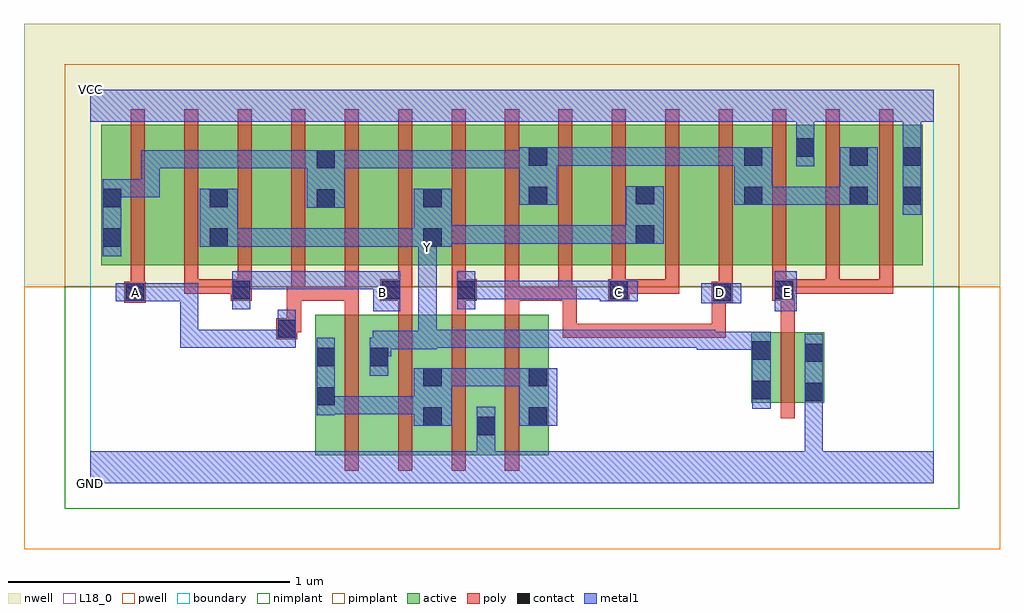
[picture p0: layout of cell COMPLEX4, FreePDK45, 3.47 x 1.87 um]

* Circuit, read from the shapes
.subckt COMPLEX4 A B C D E GND VCC Y
M1 Y A n1 VSUBS nfet w=0.5u l=0.05u
M2 n1 B Y VSUBS nfet w=0.5u l=0.05u
M3 GND C n1 VSUBS nfet w=0.5u l=0.05u
M4 n1 D GND VSUBS nfet w=0.5u l=0.05u
M5 GND E Y VSUBS nfet w=0.25u l=0.05u
M6 n2 A n3 n4 pfet w=0.5u l=0.05u
M7 Y B n2 n4 pfet w=0.5u l=0.05u
M8 n5 B Y n4 pfet w=0.5u l=0.05u
M9 n3 A n5 n4 pfet w=0.5u l=0.05u
M10 n6 A n3 n4 pfet w=0.5u l=0.05u
M11 Y B n6 n4 pfet w=0.5u l=0.05u
M12 n7 C Y n4 pfet w=0.5u l=0.05u
M13 n3 D n7 n4 pfet w=0.5u l=0.05u
M14 n8 D n3 n4 pfet w=0.5u l=0.05u
M15 Y C n8 n4 pfet w=0.5u l=0.05u
M16 n9 C Y n4 pfet w=0.5u l=0.05u
M17 n3 D n9 n4 pfet w=0.5u l=0.05u
M18 VCC E n3 n4 pfet w=0.5u l=0.05u m=3
.ends

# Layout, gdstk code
import gdstk
lib = gdstk.Library(unit=1e-6, precision=1e-09)
def R(c, l, rs):  # rectangles x0, y0, x1, y1
    for r in rs: c.add(gdstk.rectangle(r[:2], r[2:], *l))
def A(c, l, x, y, w, h, nx, ny, dx, dy):  # array of equal rectangles
    R(c, l, [(x+i*dx, y+j*dy, x+i*dx+w, y+j*dy+h) for i in range(nx) for j in range(ny)])
active = (1, 0)
pwell = (2, 0)
nwell = (3, 0)
nimplant = (4, 0)
pimplant = (5, 0)
poly = (9, 0)
contact = (10, 0)
metal1 = (11, 0)
L18_0 = (18, 0)
boundary = (235, 0)

complex4 = lib.new_cell('COMPLEX4')
A(complex4, active, 0.8, 0.1, 0.265, 0.5, 3, 1, 0.19, 0)
A(complex4, active, 0.04, 0.775, 0.225, 0.5, 4, 1, 0.38, 0)
A(complex4, active, 0.265, 0.775, 0.23, 0.5, 3, 1, 0.38, 0)
R(complex4, active, [(1.37,0.1,1.63,0.6), (1.37,0.132,1.445,0.55), (0.8,0.145,0.875,0.6), (0.99,0.145,1.065,0.592), (1.18,0.145,1.255,0.592), (1.555,0.145,1.63,0.6), (2.35,0.287,2.425,0.537), (2.35,0.287,2.61,0.537), (2.535,0.287,2.61,0.537), (0.04,0.775,0.145,1.2), (0.42,0.775,0.495,1.07), (0.8,0.775,0.875,1.2), (1.18,0.775,1.255,1.07), (1.405,0.775,1.63,1.275), (1.555,0.775,1.63,1.2), (1.555,0.775,1.785,1.275), (1.785,0.775,2.01,1.275), (1.935,0.775,2.165,1.275), (1.935,0.775,2.01,1.07), (2.165,0.775,2.395,1.275), (2.32,0.775,2.58,1.275), (2.32,0.775,2.395,1.2), (2.505,0.775,2.77,1.275), (2.505,0.775,2.58,1.275), (2.695,0.775,2.96,1.275), (2.695,0.775,2.77,1.2), (2.885,0.775,2.96,1.275)])
R(complex4, pwell, [(-0.235,-0.235,3.235,0.7)])
R(complex4, nwell, [(-0.235,0.7,3.235,1.635)])
R(complex4, nimplant, [(-0.09,-0.09,3.09,0.7)])
R(complex4, pimplant, [(-0.09,0.7,3.09,1.49)])
A(complex4, poly, 0.905, 0.045, 0.05, 0.61, 4, 1, 0.19, 0)
A(complex4, poly, 0.905, 0.605, 0.05, 0.095, 4, 1, 0.19, 0)
A(complex4, poly, 2.425, 0.675, 0.05, 0.095, 3, 1, 0.19, 0)
A(complex4, poly, 0.145, 0.72, 0.05, 0.61, 15, 1, 0.19, 0)
R(complex4, poly, [(2.455,0.232,2.505,0.592), (0.662,0.512,0.737,0.587), (1.68,0.517,1.73,0.567), (1.68,0.517,1.73,0.567), (1.68,0.517,1.73,0.567), (1.68,0.517,1.73,0.567), (1.68,0.517,1.73,0.567), (1.68,0.517,1.862,0.567), (1.68,0.517,1.73,0.7), (1.812,0.517,1.862,0.567), (1.812,0.517,1.862,0.567), (1.812,0.517,1.862,0.567), (1.812,0.517,2.127,0.567), (2.077,0.517,2.127,0.567), (2.077,0.517,2.127,0.567), (2.077,0.517,2.127,0.567), (2.077,0.517,2.26,0.567), (2.21,0.517,2.26,0.567), (2.21,0.517,2.26,0.567), (2.21,0.517,2.26,0.567), (2.21,0.517,2.26,0.692), (0.687,0.537,0.737,0.587), (0.687,0.537,0.75,0.587), (0.7,0.537,0.75,0.7), (2.455,0.542,2.505,0.7), (0.122,0.642,0.197,0.717), (2.21,0.642,2.285,0.717), (0.5,0.65,0.575,0.725), (0.7,0.65,0.765,0.7), (0.715,0.65,0.765,0.7), (0.715,0.65,0.765,0.7), (0.715,0.65,0.955,0.7), (0.715,0.65,0.765,0.77), (0.905,0.65,0.955,0.7), (0.905,0.65,0.955,0.77), (1.032,0.65,1.145,0.725), (1.285,0.65,1.375,0.725), (1.475,0.65,1.525,0.7), (1.475,0.65,1.525,0.7), (1.475,0.65,1.525,0.7), (1.475,0.65,1.715,0.7), (1.475,0.65,1.525,0.77), (1.665,0.65,1.715,0.77), (1.665,0.65,1.73,0.7), (1.842,0.65,1.917,0.725), (2.425,0.65,2.505,0.725), (0.145,0.667,0.195,0.77), (2.235,0.667,2.285,0.77), (0.335,0.675,0.385,0.77), (0.335,0.675,0.385,0.725), (0.335,0.675,0.55,0.725), (0.5,0.675,0.55,0.725), (0.5,0.675,0.55,0.725), (0.525,0.675,0.575,0.77), (1.095,0.675,1.145,0.77), (1.285,0.675,1.335,0.77), (1.855,0.675,1.905,0.77), (1.867,0.675,1.917,0.725), (1.867,0.675,1.917,0.725), (1.867,0.675,2.095,0.725), (2.045,0.675,2.095,0.77), (2.045,0.675,2.095,0.725), (2.455,0.675,2.665,0.725), (2.615,0.675,2.665,0.725), (2.615,0.675,2.665,0.725), (2.615,0.675,2.665,0.725), (2.615,0.675,2.855,0.725), (2.805,0.675,2.855,0.725), (2.805,0.675,2.855,0.725), (2.805,0.675,2.855,0.725)])
R(complex4, contact, [(1.375,0.172,1.44,0.237), (1.185,0.205,1.25,0.27), (1.56,0.205,1.625,0.27), (0.805,0.277,0.87,0.342), (2.54,0.292,2.605,0.357), (2.355,0.3,2.42,0.365), (1.185,0.345,1.25,0.41), (1.56,0.345,1.625,0.41), (0.805,0.417,0.87,0.482), (0.995,0.417,1.06,0.482), (2.54,0.432,2.605,0.497), (2.355,0.44,2.42,0.505), (0.667,0.517,0.732,0.582), (0.127,0.647,0.192,0.712), (2.215,0.647,2.28,0.712), (0.505,0.655,0.57,0.72), (1.037,0.655,1.102,0.72), (1.305,0.655,1.37,0.72), (1.847,0.655,1.912,0.72), (2.435,0.655,2.5,0.72), (0.045,0.842,0.11,0.907), (0.425,0.842,0.49,0.907), (1.185,0.842,1.25,0.907), (1.94,0.852,2.005,0.917), (0.805,0.98,0.87,1.045), (0.045,0.982,0.11,1.047), (0.425,0.982,0.49,1.047), (1.185,0.982,1.25,1.047), (1.56,0.99,1.625,1.055), (2.325,0.99,2.39,1.055), (2.7,0.99,2.765,1.055), (2.89,0.99,2.955,1.055), (1.94,0.992,2.005,1.057), (0.805,1.12,0.87,1.185), (1.56,1.13,1.625,1.195), (2.325,1.13,2.39,1.195), (2.7,1.13,2.765,1.195), (2.89,1.13,2.955,1.195), (2.51,1.162,2.575,1.227)])
R(complex4, metal1, [(0,0,3,0.115), (1.375,0.05,1.44,0.202), (2.54,0.05,2.605,0.115), (2.54,0.05,2.605,0.115), (2.54,0.05,2.605,0.115), (2.54,0.05,2.605,0.115), (2.54,0.05,2.605,0.115), (2.54,0.05,2.605,0.115), (2.54,0.05,2.605,0.322), (1.375,0.137,1.44,0.202), (1.375,0.137,1.44,0.202), (1.375,0.137,1.44,0.272), (1.15,0.205,1.285,0.41), (1.525,0.205,1.66,0.41), (0.805,0.242,0.87,0.517), (0.805,0.245,0.87,0.31), (0.805,0.245,0.87,0.31), (0.805,0.245,1.077,0.31), (1.012,0.245,1.077,0.31), (1.012,0.245,1.077,0.31), (1.012,0.245,1.077,0.31), (1.012,0.245,1.215,0.31), (2.54,0.257,2.605,0.532), (2.355,0.265,2.42,0.54), (1.22,0.345,1.422,0.41), (1.357,0.345,1.422,0.41), (1.357,0.345,1.422,0.41), (1.357,0.345,1.422,0.41), (1.357,0.345,1.59,0.41), (1.525,0.345,1.59,0.41), (1.525,0.345,1.59,0.41), (0.995,0.382,1.06,0.517), (0.995,0.452,1.07,0.517), (1.005,0.452,1.07,0.542), (2.157,0.475,2.42,0.54), (2.157,0.475,2.222,0.547), (1.005,0.477,1.232,0.542), (1.167,0.477,1.232,0.547), (0.32,0.482,0.385,0.547), (0.32,0.482,0.525,0.547), (0.32,0.482,0.385,0.712), (0.46,0.482,0.525,0.547), (0.46,0.482,0.67,0.547), (0.605,0.482,0.67,0.547), (0.605,0.482,0.67,0.547), (0.605,0.482,0.67,0.547), (0.605,0.482,0.732,0.547), (0.667,0.482,0.732,0.617), (1.167,0.482,1.452,0.547), (1.167,0.482,1.232,0.837), (1.387,0.482,1.452,0.547), (1.387,0.482,1.452,0.547), (1.387,0.482,1.452,0.547), (1.387,0.482,1.59,0.547), (1.525,0.482,1.59,0.547), (1.525,0.482,1.59,0.547), (1.525,0.482,1.59,0.547), (1.525,0.482,1.74,0.547), (1.675,0.482,1.74,0.547), (1.675,0.482,1.797,0.547), (1.732,0.482,1.797,0.547), (1.732,0.482,1.947,0.547), (1.882,0.482,1.947,0.547), (1.882,0.482,1.947,0.547), (1.882,0.482,1.947,0.547), (1.882,0.482,2.085,0.547), (2.02,0.482,2.085,0.547), (2.02,0.482,2.085,0.547), (2.02,0.482,2.085,0.547), (2.02,0.482,2.222,0.547), (1.007,0.612,1.102,0.755), (2.435,0.612,2.512,0.755), (0.505,0.62,0.57,0.755), (1.305,0.62,1.37,0.755), (2.172,0.64,2.315,0.712), (0.092,0.647,0.227,0.712), (0.162,0.647,0.247,0.712), (0.182,0.647,0.247,0.712), (0.182,0.647,0.385,0.712), (0.32,0.647,0.385,0.712), (0.32,0.647,0.385,0.712), (0.32,0.647,0.385,0.712), (1.812,0.647,1.947,0.72), (1.305,0.655,1.422,0.72), (1.357,0.655,1.422,0.72), (1.357,0.655,1.59,0.72), (1.525,0.655,1.59,0.72), (1.525,0.655,1.59,0.72), (1.525,0.655,1.59,0.72), (1.525,0.655,1.74,0.72), (1.675,0.655,1.74,0.72), (1.675,0.655,1.81,0.72), (1.745,0.655,1.81,0.72), (1.745,0.655,1.877,0.72), (0.505,0.69,0.697,0.755), (0.632,0.69,0.697,0.755), (0.632,0.69,0.707,0.755), (0.642,0.69,0.707,0.755), (0.642,0.69,0.87,0.755), (0.805,0.69,0.87,0.755), (0.805,0.69,0.87,0.755), (0.805,0.69,0.87,0.755), (0.805,0.69,1.072,0.755), (1.007,0.69,1.072,0.755), (1.007,0.69,1.072,0.755), (1.167,0.772,1.232,0.907), (0.045,0.807,0.11,1.082), (0.39,0.842,0.525,1.047), (0.46,0.842,0.525,0.907), (0.46,0.842,0.525,0.907), (0.46,0.842,0.662,0.907), (0.597,0.842,0.662,0.907), (0.597,0.842,0.732,0.907), (0.667,0.842,0.732,0.907), (0.667,0.842,0.87,0.907), (0.805,0.842,0.87,0.907), (0.805,0.842,0.87,0.907), (0.805,0.842,0.87,0.907), (0.805,0.842,1.042,0.907), (0.977,0.842,1.042,0.907), (0.977,0.842,1.042,0.907), (0.977,0.842,1.042,0.907), (0.977,0.842,1.215,0.907), (1.15,0.842,1.285,1.047), (1.167,0.842,1.232,0.907), (1.22,0.852,1.452,0.917), (1.387,0.852,1.452,0.917), (1.387,0.852,1.452,0.917), (1.387,0.852,1.452,0.917), (1.387,0.852,1.59,0.917), (1.525,0.852,1.59,0.917), (1.525,0.852,1.59,0.917), (1.525,0.852,1.59,0.917), (1.525,0.852,1.727,0.917), (1.662,0.852,1.727,0.917), (1.662,0.852,1.81,0.917), (1.745,0.852,1.81,0.917), (1.745,0.852,1.947,0.917), (1.882,0.852,1.947,0.917), (1.882,0.852,1.97,0.917), (1.905,0.852,2.04,1.057), (2.89,0.955,2.955,1.23), (0.77,0.98,0.905,1.185), (1.525,0.99,1.66,1.195), (2.29,0.99,2.425,1.195), (2.36,0.99,2.592,1.055), (2.527,0.99,2.592,1.055), (2.527,0.99,2.592,1.055), (2.527,0.99,2.592,1.055), (2.527,0.99,2.73,1.055), (2.665,0.99,2.73,1.055), (2.665,0.99,2.73,1.055), (2.665,0.99,2.8,1.195), (0.045,1.017,0.11,1.082), (0.045,1.017,0.11,1.082), (0.045,1.017,0.247,1.082), (0.182,1.017,0.247,1.082), (0.182,1.017,0.247,1.185), (0.182,1.12,0.247,1.185), (0.182,1.12,0.387,1.185), (0.322,1.12,0.387,1.185), (0.322,1.12,0.525,1.185), (0.46,1.12,0.525,1.185), (0.46,1.12,0.525,1.185), (0.46,1.12,0.525,1.185), (0.46,1.12,0.662,1.185), (0.597,1.12,0.662,1.185), (0.597,1.12,0.732,1.185), (0.667,1.12,0.732,1.185), (0.667,1.12,0.835,1.185), (0.84,1.12,0.905,1.185), (0.84,1.12,0.905,1.185), (0.84,1.12,1.077,1.185), (1.012,1.12,1.077,1.185), (1.012,1.12,1.077,1.185), (1.012,1.12,1.077,1.185), (1.012,1.12,1.285,1.185), (1.22,1.12,1.285,1.185), (1.22,1.12,1.422,1.185), (1.357,1.12,1.422,1.185), (1.357,1.12,1.422,1.185), (1.357,1.12,1.422,1.185), (1.357,1.12,1.59,1.185), (1.525,1.12,1.59,1.185), (1.525,1.12,1.59,1.185), (2.51,1.127,2.575,1.262), (1.595,1.13,1.74,1.195), (1.675,1.13,1.74,1.195), (1.675,1.13,1.81,1.195), (1.745,1.13,1.81,1.195), (1.745,1.13,1.947,1.195), (1.882,1.13,1.947,1.195), (1.882,1.13,1.947,1.195), (1.882,1.13,1.947,1.195), (1.882,1.13,2.085,1.195), (2.02,1.13,2.085,1.195), (2.02,1.13,2.177,1.195), (2.112,1.13,2.177,1.195), (2.112,1.13,2.177,1.195), (2.112,1.13,2.177,1.195), (2.112,1.13,2.355,1.195), (2.29,1.13,2.355,1.195), (2.29,1.13,2.355,1.195), (2.89,1.165,2.955,1.35), (2.51,1.197,2.575,1.35), (0,1.285,3,1.4)])
R(complex4, L18_0, [(0,0,3,0.115), (1.375,0.05,1.44,0.202), (2.54,0.05,2.605,0.115), (2.54,0.05,2.605,0.115), (2.54,0.05,2.605,0.115), (2.54,0.05,2.605,0.115), (2.54,0.05,2.605,0.115), (2.54,0.05,2.605,0.115), (2.54,0.05,2.605,0.322), (1.375,0.137,1.44,0.202), (1.375,0.137,1.44,0.202), (1.375,0.137,1.44,0.272), (2.54,0.257,2.605,0.532), (2.355,0.265,2.42,0.54), (0.995,0.382,1.06,0.517), (0.995,0.452,1.07,0.517), (1.005,0.452,1.07,0.542), (2.157,0.475,2.222,0.547), (2.157,0.475,2.42,0.54), (1.005,0.477,1.232,0.542), (1.167,0.477,1.232,0.547), (0.32,0.482,0.385,0.547), (0.32,0.482,0.385,0.712), (0.32,0.482,0.525,0.547), (0.46,0.482,0.525,0.547), (0.46,0.482,0.67,0.547), (0.605,0.482,0.67,0.547), (0.605,0.482,0.67,0.547), (0.605,0.482,0.67,0.547), (0.605,0.482,0.732,0.547), (0.667,0.482,0.732,0.617), (1.167,0.482,1.232,0.837), (1.167,0.482,1.452,0.547), (1.387,0.482,1.452,0.547), (1.387,0.482,1.452,0.547), (1.387,0.482,1.452,0.547), (1.387,0.482,1.59,0.547), (1.525,0.482,1.59,0.547), (1.525,0.482,1.59,0.547), (1.525,0.482,1.59,0.547), (1.525,0.482,1.74,0.547), (1.675,0.482,1.74,0.547), (1.675,0.482,1.797,0.547), (1.732,0.482,1.797,0.547), (1.732,0.482,1.947,0.547), (1.882,0.482,1.947,0.547), (1.882,0.482,1.947,0.547), (1.882,0.482,1.947,0.547), (1.882,0.482,2.085,0.547), (2.02,0.482,2.085,0.547), (2.02,0.482,2.085,0.547), (2.02,0.482,2.085,0.547), (2.02,0.482,2.222,0.547), (1.007,0.612,1.102,0.755), (2.435,0.612,2.512,0.755), (0.505,0.62,0.57,0.755), (1.305,0.62,1.37,0.755), (2.172,0.64,2.315,0.712), (0.092,0.647,0.227,0.712), (0.127,0.647,0.192,0.712), (0.162,0.647,0.247,0.712), (0.182,0.647,0.247,0.712), (0.182,0.647,0.385,0.712), (0.32,0.647,0.385,0.712), (0.32,0.647,0.385,0.712), (0.32,0.647,0.385,0.712), (1.007,0.647,1.072,0.712), (1.812,0.647,1.947,0.72), (1.847,0.647,1.912,0.712), (2.207,0.647,2.272,0.712), (2.447,0.647,2.512,0.712), (1.305,0.655,1.422,0.72), (1.357,0.655,1.422,0.72), (1.357,0.655,1.59,0.72), (1.525,0.655,1.59,0.72), (1.525,0.655,1.59,0.72), (1.525,0.655,1.59,0.72), (1.525,0.655,1.74,0.72), (1.675,0.655,1.81,0.72), (1.675,0.655,1.74,0.72), (1.745,0.655,1.81,0.72), (1.745,0.655,1.877,0.72), (0.505,0.69,0.697,0.755), (0.632,0.69,0.697,0.755), (0.632,0.69,0.707,0.755), (0.642,0.69,0.707,0.755), (0.642,0.69,0.87,0.755), (0.805,0.69,0.87,0.755), (0.805,0.69,0.87,0.755), (0.805,0.69,0.87,0.755), (0.805,0.69,1.072,0.755), (1.007,0.69,1.072,0.755), (1.007,0.69,1.072,0.755), (1.167,0.772,1.232,0.907), (1.167,0.807,1.232,0.872), (0.39,0.842,0.525,1.047), (0.46,0.842,0.525,0.907), (0.46,0.842,0.525,0.907), (0.46,0.842,0.662,0.907), (0.597,0.842,0.732,0.907), (0.597,0.842,0.662,0.907), (0.667,0.842,0.732,0.907), (0.667,0.842,0.87,0.907), (0.805,0.842,0.87,0.907), (0.805,0.842,0.87,0.907), (0.805,0.842,0.87,0.907), (0.805,0.842,1.042,0.907), (0.977,0.842,1.042,0.907), (0.977,0.842,1.042,0.907), (0.977,0.842,1.042,0.907), (0.977,0.842,1.215,0.907), (1.15,0.842,1.285,1.047), (1.167,0.842,1.232,0.907), (1.22,0.852,1.452,0.917), (1.387,0.852,1.452,0.917), (1.387,0.852,1.452,0.917), (1.387,0.852,1.452,0.917), (1.387,0.852,1.59,0.917), (1.525,0.852,1.59,0.917), (1.525,0.852,1.59,0.917), (1.525,0.852,1.59,0.917), (1.525,0.852,1.727,0.917), (1.662,0.852,1.727,0.917), (1.662,0.852,1.81,0.917), (1.745,0.852,1.81,0.917), (1.745,0.852,1.947,0.917), (1.882,0.852,1.947,0.917), (1.882,0.852,1.97,0.917), (1.905,0.852,2.04,1.057), (2.89,0.955,2.955,1.23), (2.51,1.127,2.575,1.262), (2.89,1.165,2.955,1.35), (2.51,1.197,2.575,1.35), (0,1.285,3,1.4)])
R(complex4, boundary, [(0,0,3,1.4)])
complex4.add(gdstk.Label('A', (0.16,0.68), layer=11, texttype=0))
complex4.add(gdstk.Label('B', (1.04,0.68), layer=11, texttype=0))
complex4.add(gdstk.Label('C', (1.88,0.68), layer=11, texttype=0))
complex4.add(gdstk.Label('D', (2.24,0.68), layer=11, texttype=0))
complex4.add(gdstk.Label('E', (2.48,0.68), layer=11, texttype=0))
complex4.add(gdstk.Label('Y', (1.2,0.84), layer=11, texttype=0))
complex4.add(gdstk.Label('VCC', (0,1.4), layer=11, texttype=0))
complex4.add(gdstk.Label('GND', (0,0), layer=11, texttype=0))

lib.write_gds('COMPLEX4.gds')
